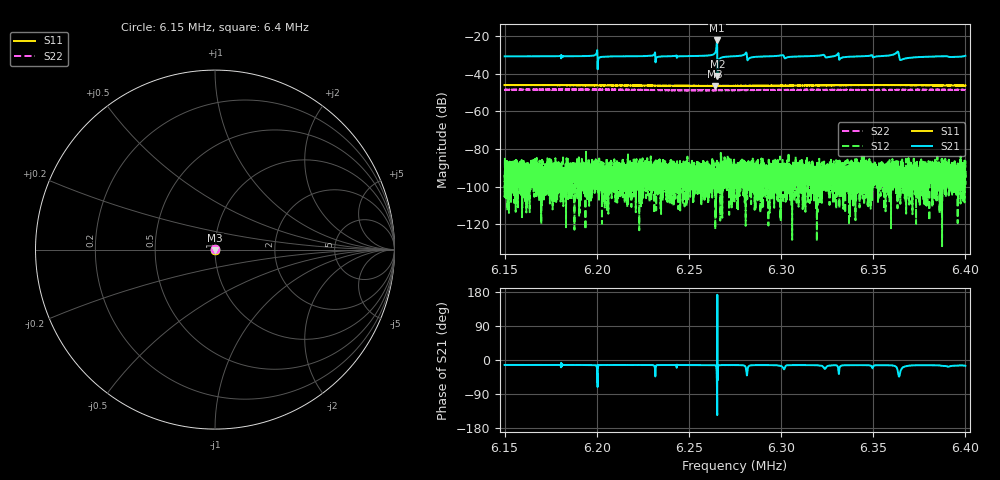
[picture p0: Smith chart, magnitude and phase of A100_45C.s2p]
!CETC41,AV3656A,ZGL00048,1.3.2
!Calibration ON (Full Solt 2-Port(Omit Isolation))
!Measurements: S11 S21 S12 S22
!2025-04-22 22:12
# Hz  S  dB  R 50.000
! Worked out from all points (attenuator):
!   6401 points, 6.15 MHz to 6.4 MHz, reference 50 ohm
!   highest |S21| = -22.34 dB at 6.2652 MHz (marker M1); lowest = -41.2 dB at 6.2654 MHz (marker M2)
!   lowest |S11| = -46.6 dB at 6.2642 MHz (marker M3), VSWR 1.01, Z = 50 - j0.469 ohm
!   |S11| at or under -10 dB: start of sweep to end of sweep
!   |S22| runs from -48.9 to -48.3 dB; largest |S21 - S12| = 0.076
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6150000  -46.08 -93.1  -30.79 -13.1  -93.78 158.9  -48.61 108.8
6191680  -46.14 -93.6  -30.65 -13.1  -98.17 167.0  -48.49 109.8
6199141  -46.23 -93.7  -30.10 -13.4  -90.43 84.7  -48.47 110.1
6201680  -46.24 -93.6  -31.32 -13.5  -95.76 59.6  -48.52 110.3
6230469  -46.35 -93.8  -30.28 -13.6  -88.92 4.9  -48.73 110.3
6233359  -46.44 -93.4  -31.02 -13.3  -90.40 57.7  -48.75 109.9
6260313  -46.45 -93.0  -30.34 -13.3  -93.78 109.8  -48.82 109.3
6264180  -46.57 -92.6  -29.02 -14.0  -91.24 123.5  -48.87 109.2
6265234  -46.48 -93.0  -22.34 -74.6  -95.85 46.0  -48.69 109.8
6265430  -46.51 -92.4  -41.24 61.2  -96.75 94.9  -48.64 109.3
6266641  -46.47 -92.5  -32.04 -13.8  -92.48 58.1  -48.70 109.1
6268320  -46.49 -92.8  -31.25 -13.5  -96.08 54.4  -48.74 109.1
6275000  -46.47 -92.7  -30.71 -13.4  -92.07 57.4  -48.72 109.0
6280156  -46.47 -93.0  -29.79 -15.0  -90.14 173.5  -48.75 109.1
6282773  -46.47 -92.3  -31.79 -15.3  -91.82 70.1  -48.72 109.0
6316680  -46.25 -92.0  -30.63 -13.5  -90.34 30.1  -48.62 108.5
6330078  -46.16 -92.7  -30.23 -14.2  -96.46 93.6  -48.53 109.5
6332656  -46.16 -92.5  -31.56 -14.9  -94.25 -179.1  -48.60 109.0
6358359  -46.09 -92.8  -30.35 -14.0  -94.53 -12.2  -48.64 110.3
6362695  -46.06 -92.6  -28.75 -19.7  -87.72 67.9  -48.57 110.8
6365586  -46.08 -92.9  -32.50 -21.8  -91.13 115.8  -48.54 110.7
6400000  -46.28 -92.8  -30.48 -15.7  -86.25 -28.8  -48.67 110.7
